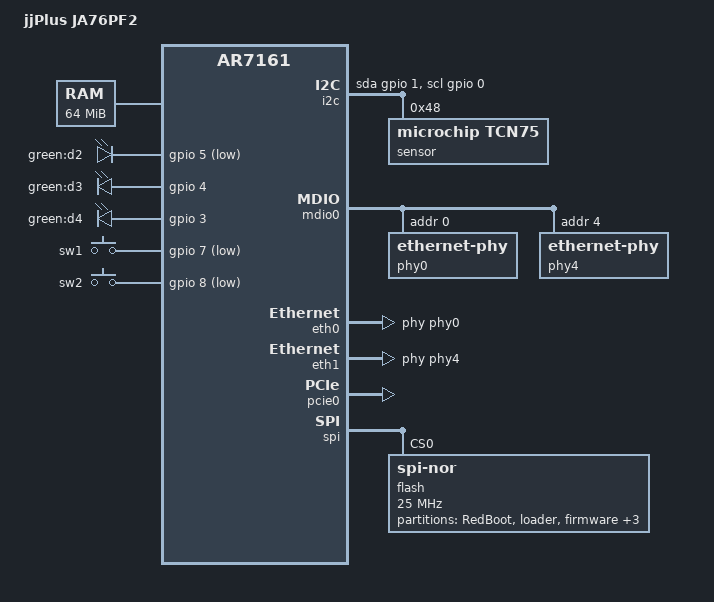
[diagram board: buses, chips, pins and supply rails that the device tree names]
// SPDX-License-Identifier: GPL-2.0-or-later OR MIT

#include "ar7100.dtsi"

#include <dt-bindings/gpio/gpio.h>
#include <dt-bindings/input/input.h>
#include <dt-bindings/mtd/partitions/uimage.h>

/ {
	model = "jjPlus JA76PF2";
	compatible = "jjplus,ja76pf2", "qca,ar7161";

	memory@0 {
		device_type = "memory";
		reg = <0x0 0x4000000>;
	};

	chosen {
		bootargs = "console=ttyS0,115200n8";
	};

	aliases {
		led-boot = &led_d2;
		led-failsafe = &led_d2;
		led-running = &led_d2;
		led-upgrade = &led_d2;
	};

	i2c {
		compatible = "i2c-gpio";
		sda-gpios = <&gpio 1 GPIO_ACTIVE_HIGH>;
		scl-gpios = <&gpio 0 GPIO_ACTIVE_HIGH>;
		#address-cells = <1>;
		#size-cells = <0>;

		sensor@48 {
			compatible = "microchip,tcn75";
			reg = <0x48>;
		};
	};

	leds {
		compatible = "gpio-leds";

		led_d2: d2 {
			label = "green:d2";
			gpios = <&gpio 5 GPIO_ACTIVE_LOW>;
		};

		d3 {
			label = "green:d3";
			gpios = <&gpio 4 GPIO_ACTIVE_HIGH>;
		};

		d4 {
			label = "green:d4";
			gpios = <&gpio 3 GPIO_ACTIVE_HIGH>;
		};
	};

	keys {
		compatible = "gpio-keys";

		sw1 {
			label = "sw1";
			linux,code = <KEY_RESTART>;
			gpios = <&gpio 7 GPIO_ACTIVE_LOW>;
			debounce-interval = <60>;
		};

		sw2 {
			label = "sw2";
			linux,code = <KEY_WPS_BUTTON>;
			gpios = <&gpio 8 GPIO_ACTIVE_LOW>;
			debounce-interval = <60>;
		};
	};
};

&mdio0 {
	status = "okay";

	phy0: ethernet-phy@0 {
		reg = <0>;
		phy-mode = "rgmii";
	};

	phy4: ethernet-phy@4 {
		reg = <4>;
		phy-mode = "rgmii";
	};
};

&eth0 {
	status = "okay";

	nvmem-cells = <&macaddr_lan>;
	nvmem-cell-names = "mac-address";
	phy-handle = <&phy0>;
};

&eth1 {
	status = "okay";

	nvmem-cells = <&macaddr_wan>;
	nvmem-cell-names = "mac-address";
	phy-handle = <&phy4>;
};

&pcie0 {
	status = "okay";
};

&spi {
	status = "okay";

	flash@0 {
		compatible = "jedec,spi-nor";
		reg = <0>;
		spi-max-frequency = <25000000>;

		partitions {
			compatible = "fixed-partitions";
			#address-cells = <1>;
			#size-cells = <1>;

			partition@0 {
				label = "RedBoot";
				reg = <0x000000 0x040000>;
				read-only;
			};

			partition@40000 {
				label = "loader";
				reg = <0x040000 0x020000>;
			};

			partition@60000 {
				label = "firmware";
				reg = <0x060000 0xf80000>;
				compatible = "openwrt,uimage", "denx,uimage";
				openwrt,ih-magic = <IH_MAGIC_OKLI>;
			};

			partition@fe0000 {
				label = "FIS directory";
				reg = <0xfe0000 0x00f000>;
				read-only;
			};

			partition@fef000 {
				label = "RedBoot config";
				reg = <0xfef000 0x001000>;
				read-only;
			};

			partition@ff0000 {
				label = "Atheros Board Data";
				reg = <0xff0000 0x10000>;
				read-only;
				compatible = "nvmem-cells";
				#address-cells = <1>;
				#size-cells = <1>;

				macaddr_wan: macaddr@1000 {
					reg = <0x1000 0x6>;
				};

				macaddr_lan: macaddr@1006 {
					reg = <0x1006 0x6>;
				};
			};
		};
	};
};
